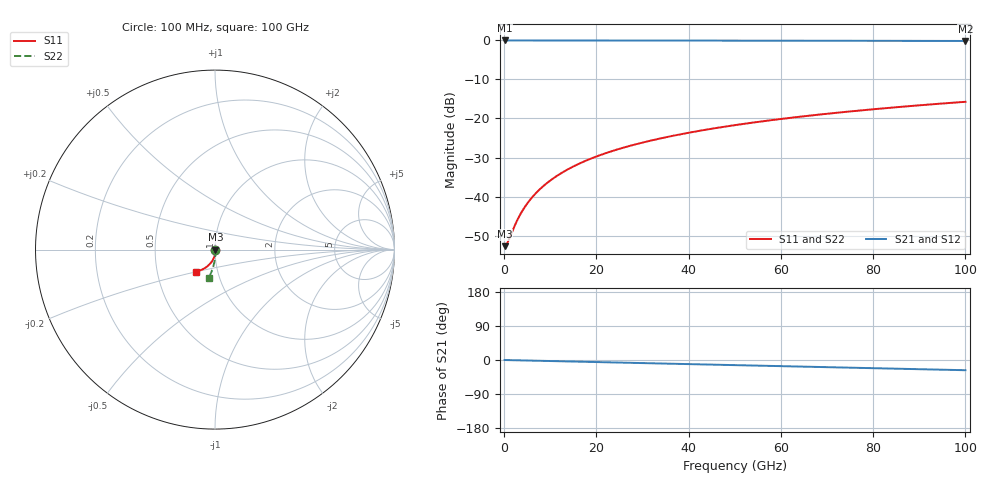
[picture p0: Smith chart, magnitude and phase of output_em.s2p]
#  Hz  S  RI  R  50
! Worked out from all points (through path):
!   1000 points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, 100 MHz to 100 GHz, reference 50 ohm
!   highest |S21| = -0.02 dB at 100 MHz (marker M1); lowest = -0.2 dB at 100 GHz (marker M2)
!   group delay of S21, straight-line fit = 748 fs
!   lowest |S11| = -52.7 dB at 100 MHz (marker M3), VSWR 1.00, Z = 50.2 - j0.0156 ohm
!   |S11| at or under -10 dB: start of sweep to end of sweep
!   |S22| runs from -52.9 to -15.9 dB; largest |S21 - S12| = 0.0043
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1e8  0.00231 -0.000155  0.9977 -0.000485  0.9977 -0.00049  0.00226 -0.000152
5e8  0.00231 -0.000777  0.9977 -0.00243  0.9977 -0.00245  0.00226 -0.000759
8e8  0.00231 -0.00124  0.9977 -0.00388  0.9977 -0.00392  0.00226 -0.00121
2.6e9  0.00228 -0.00405  0.9976 -0.0126  0.9976 -0.0127  0.00229 -0.00396
3.2e9  0.00227 -0.00499  0.9975 -0.0155  0.9975 -0.0157  0.00231 -0.00488
3.8e9  0.00225 -0.00594  0.9974 -0.0184  0.9974 -0.0186  0.00233 -0.0058
5.1e9  0.00219 -0.008  0.9972 -0.0246  0.9971 -0.0249  0.00237 -0.00781
6.6e9  0.00208 -0.0104  0.9968 -0.0318  0.9968 -0.0321  0.00242 -0.0102
8.6e9  0.00186 -0.0137  0.9963 -0.0413  0.9962 -0.0416  0.00247 -0.0133
1.1e10  0.00145 -0.0176  0.9955 -0.0525  0.9954 -0.053  0.00249 -0.0172
1.37e10  0.000792 -0.0221  0.9945 -0.0652  0.9944 -0.0658  0.00241 -0.0216
1.68e10  -0.00024 -0.0273  0.9932 -0.0796  0.9931 -0.0803  0.00219 -0.0267
2.02e10  -0.00169 -0.0329  0.9916 -0.0955  0.9914 -0.0963  0.0018 -0.0323
2.41e10  -0.00374 -0.0392  0.9893 -0.1137  0.989 -0.1147  0.00121 -0.0387
2.85e10  -0.00649 -0.0462  0.9863 -0.1341  0.9859 -0.1353  0.000388 -0.0459
3.34e10  -0.0101 -0.0538  0.9824 -0.1567  0.9819 -0.1581  -0.000713 -0.0539
4.12e10  -0.017 -0.0654  0.9751 -0.1925  0.9744 -0.1941  -0.00288 -0.0665
5.01e10  -0.0267 -0.0778  0.965 -0.2329  0.964 -0.2348  -0.00599 -0.0808
5.8e10  -0.0366 -0.088  0.9545 -0.2682  0.9532 -0.2703  -0.00928 -0.0934
6.67e10  -0.049 -0.098  0.9413 -0.3064  0.9397 -0.3088  -0.0135 -0.107
8.34e10  -0.0766 -0.1133  0.9113 -0.3778  0.9088 -0.3803  -0.0231 -0.1325
1e11  -0.108 -0.1227  0.8756 -0.4453  0.8721 -0.4479  -0.0347 -0.1569
